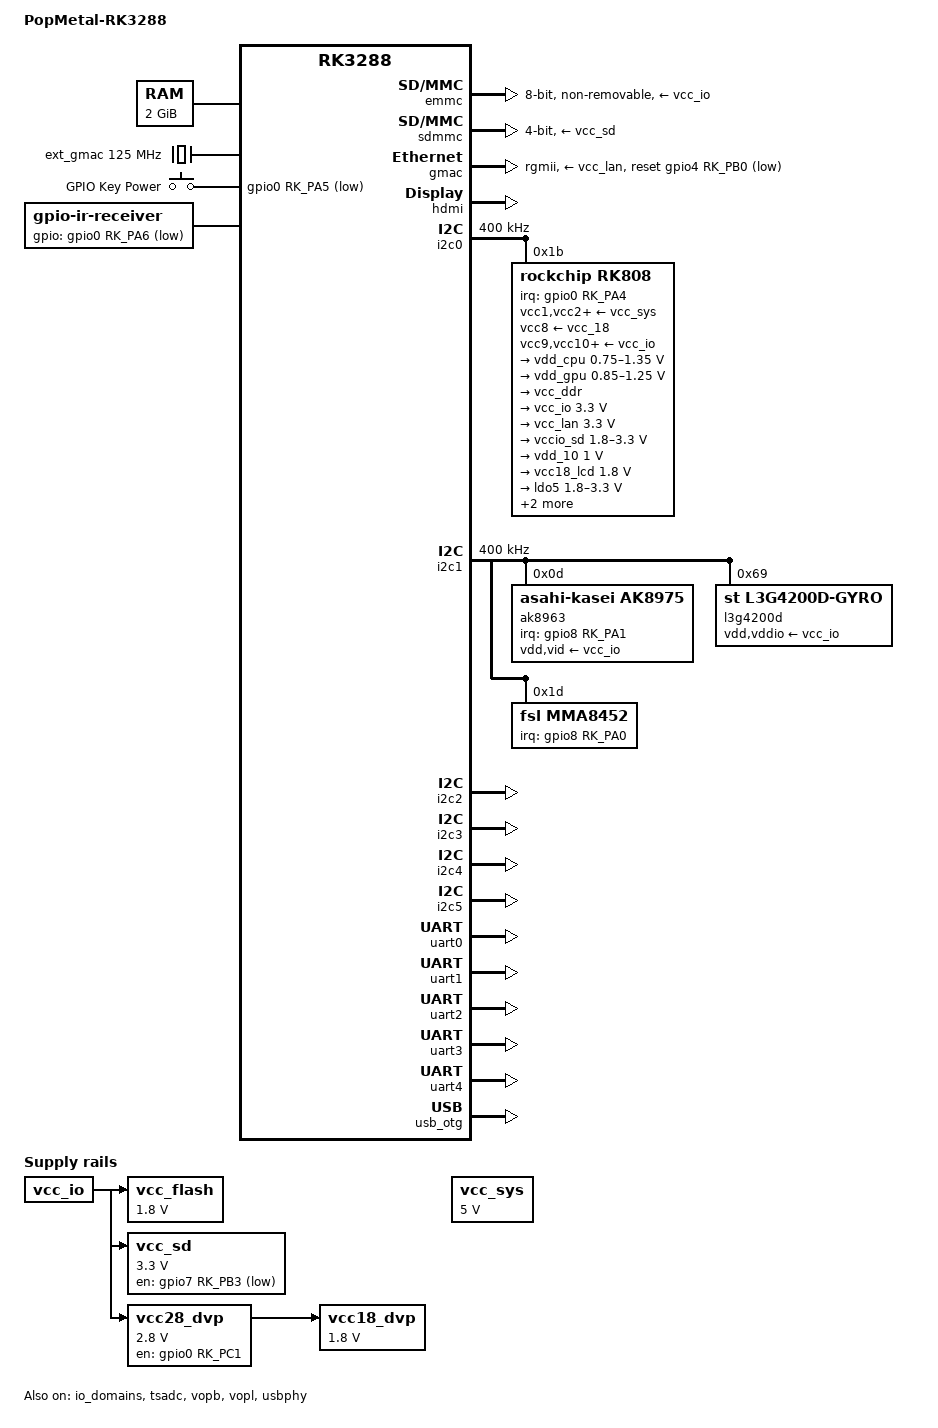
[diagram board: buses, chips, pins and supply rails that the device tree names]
/*
 * Copyright (c) 2014, 2015 Andy Yan <andy.yan@rock-chips.com>
 *
 * This file is dual-licensed: you can use it either under the terms
 * of the GPL or the X11 license, at your option. Note that this dual
 * licensing only applies to this file, and not this project as a
 * whole.
 *
 *  a) This file is free software; you can redistribute it and/or
 *     modify it under the terms of the GNU General Public License as
 *     published by the Free Software Foundation; either version 2 of the
 *     License, or (at your option) any later version.
 *
 *     This file is distributed in the hope that it will be useful,
 *     but WITHOUT ANY WARRANTY; without even the implied warranty of
 *     MERCHANTABILITY or FITNESS FOR A PARTICULAR PURPOSE.  See the
 *     GNU General Public License for more details.
 *
 *  Or, alternatively,
 *
 *  b) Permission is hereby granted, free of charge, to any person
 *     obtaining a copy of this software and associated documentation
 *     files (the "Software"), to deal in the Software without
 *     restriction, including without limitation the rights to use,
 *     copy, modify, merge, publish, distribute, sublicense, and/or
 *     sell copies of the Software, and to permit persons to whom the
 *     Software is furnished to do so, subject to the following
 *     conditions:
 *
 *     The above copyright notice and this permission notice shall be
 *     included in all copies or substantial portions of the Software.
 *
 *     THE SOFTWARE IS PROVIDED "AS IS", WITHOUT WARRANTY OF ANY KIND,
 *     EXPRESS OR IMPLIED, INCLUDING BUT NOT LIMITED TO THE WARRANTIES
 *     OF MERCHANTABILITY, FITNESS FOR A PARTICULAR PURPOSE AND
 *     NONINFRINGEMENT. IN NO EVENT SHALL THE AUTHORS OR COPYRIGHT
 *     HOLDERS BE LIABLE FOR ANY CLAIM, DAMAGES OR OTHER LIABILITY,
 *     WHETHER IN AN ACTION OF CONTRACT, TORT OR OTHERWISE, ARISING
 *     FROM, OUT OF OR IN CONNECTION WITH THE SOFTWARE OR THE USE OR
 *     OTHER DEALINGS IN THE SOFTWARE.
 */

/dts-v1/;
#include <dt-bindings/input/input.h>
#include "rk3288.dtsi"

/ {
	model = "PopMetal-RK3288";
	compatible = "chipspark,popmetal-rk3288", "rockchip,rk3288";

	memory@0 {
		device_type = "memory";
		reg = <0 0x80000000>;
	};

	ext_gmac: external-gmac-clock {
		compatible = "fixed-clock";
		clock-frequency = <125000000>;
		clock-output-names = "ext_gmac";
		#clock-cells = <0>;
	};

	gpio-keys {
		compatible = "gpio-keys";
		autorepeat;

		pinctrl-names = "default";
		pinctrl-0 = <&pwrbtn>;

		power {
			gpios = <&gpio0 RK_PA5 GPIO_ACTIVE_LOW>;
			linux,code = <KEY_POWER>;
			label = "GPIO Key Power";
			linux,input-type = <1>;
			wakeup-source;
			debounce-interval = <100>;
		};
	};

	ir: ir-receiver {
		compatible = "gpio-ir-receiver";
		gpios = <&gpio0 RK_PA6 GPIO_ACTIVE_LOW>;
		pinctrl-names = "default";
		pinctrl-0 = <&ir_int>;
	};

	vcc_flash: flash-regulator {
		compatible = "regulator-fixed";
		regulator-name = "vcc_flash";
		regulator-min-microvolt = <1800000>;
		regulator-max-microvolt = <1800000>;
		vin-supply = <&vcc_io>;
	};

	vcc_sd: sdmmc-regulator {
		compatible = "regulator-fixed";
		gpio = <&gpio7 RK_PB3 GPIO_ACTIVE_LOW>;
		pinctrl-names = "default";
		pinctrl-0 = <&sdmmc_pwr>;
		regulator-name = "vcc_sd";
		regulator-min-microvolt = <3300000>;
		regulator-max-microvolt = <3300000>;
		startup-delay-us = <100000>;
		vin-supply = <&vcc_io>;
	};

	vcc_sys: vsys-regulator {
		compatible = "regulator-fixed";
		regulator-name = "vcc_sys";
		regulator-min-microvolt = <5000000>;
		regulator-max-microvolt = <5000000>;
		regulator-always-on;
		regulator-boot-on;
	};

	/*
	 * A PT5128 creates both dovdd_1v8 and vcc28_dvp, controlled
	 * by the dvp_pwr pin.
	 */
	vcc18_dvp: vcc18-dvp-regulator {
		compatible = "regulator-fixed";
		regulator-name = "vcc18-dvp";
		regulator-min-microvolt = <1800000>;
		regulator-max-microvolt = <1800000>;
		vin-supply = <&vcc28_dvp>;
	};

	vcc28_dvp: vcc28-dvp-regulator {
		compatible = "regulator-fixed";
		enable-active-high;
		gpio = <&gpio0 RK_PC1 GPIO_ACTIVE_HIGH>;
		pinctrl-names = "default";
		pinctrl-0 = <&dvp_pwr>;
		regulator-name = "vcc28_dvp";
		regulator-min-microvolt = <2800000>;
		regulator-max-microvolt = <2800000>;
		regulator-always-on;
		vin-supply = <&vcc_io>;
	};
};

&cpu0 {
	cpu0-supply = <&vdd_cpu>;
};

&emmc {
	bus-width = <8>;
	cap-mmc-highspeed;
	disable-wp;
	mmc-ddr-1_8v;
	mmc-hs200-1_8v;
	non-removable;
	pinctrl-names = "default";
	pinctrl-0 = <&emmc_clk &emmc_cmd &emmc_pwr &emmc_bus8>;
	vmmc-supply = <&vcc_io>;
	vqmmc-supply = <&vcc_flash>;
	status = "okay";
};

&sdmmc {
	bus-width = <4>;
	cap-mmc-highspeed;
	cap-sd-highspeed;
	card-detect-delay = <200>;
	disable-wp;                     /* wp not hooked up */
	pinctrl-names = "default";
	pinctrl-0 = <&sdmmc_clk &sdmmc_cmd &sdmmc_cd &sdmmc_bus4>;
	sd-uhs-sdr12;
	sd-uhs-sdr25;
	sd-uhs-sdr50;
	sd-uhs-sdr104;
	vmmc-supply = <&vcc_sd>;
	vqmmc-supply = <&vccio_sd>;
	status = "okay";
};

&gmac {
	phy-supply = <&vcc_lan>;
	phy-mode = "rgmii";
	clock_in_out = "input";
	snps,reset-gpio = <&gpio4 RK_PB0 GPIO_ACTIVE_HIGH>;
	snps,reset-active-low;
	snps,reset-delays-us = <0 10000 1000000>;
	assigned-clocks = <&cru SCLK_MAC>;
	assigned-clock-parents = <&ext_gmac>;
	pinctrl-names = "default";
	pinctrl-0 = <&rgmii_pins>;
	tx_delay = <0x30>;
	rx_delay = <0x10>;
	status = "ok";
};

&hdmi {
	ddc-i2c-bus = <&i2c5>;
	status = "okay";
};

&i2c0 {
	status = "okay";
	clock-frequency = <400000>;

	rk808: pmic@1b {
		compatible = "rockchip,rk808";
		reg = <0x1b>;
		interrupt-parent = <&gpio0>;
		interrupts = <RK_PA4 IRQ_TYPE_LEVEL_LOW>;
		pinctrl-names = "default";
		pinctrl-0 = <&pmic_int &global_pwroff>;
		rockchip,system-power-controller;
		wakeup-source;
		#clock-cells = <1>;
		clock-output-names = "xin32k", "rk808-clkout2";

		vcc1-supply = <&vcc_sys>;
		vcc2-supply = <&vcc_sys>;
		vcc3-supply = <&vcc_sys>;
		vcc4-supply = <&vcc_sys>;
		vcc6-supply = <&vcc_sys>;
		vcc7-supply = <&vcc_sys>;
		vcc8-supply = <&vcc_18>;
		vcc9-supply = <&vcc_io>;
		vcc10-supply = <&vcc_io>;
		vcc11-supply = <&vcc_sys>;
		vcc12-supply = <&vcc_io>;
		vddio-supply = <&vcc_io>;

		regulators {
			vdd_cpu: DCDC_REG1 {
				regulator-always-on;
				regulator-boot-on;
				regulator-min-microvolt = <750000>;
				regulator-max-microvolt = <1350000>;
				regulator-name = "vdd_arm";
				regulator-state-mem {
					regulator-off-in-suspend;
				};
			};

			vdd_gpu: DCDC_REG2 {
				regulator-always-on;
				regulator-boot-on;
				regulator-min-microvolt = <850000>;
				regulator-max-microvolt = <1250000>;
				regulator-name = "vdd_gpu";
				regulator-state-mem {
					regulator-on-in-suspend;
					regulator-suspend-microvolt = <1000000>;
				};
			};

			vcc_ddr: DCDC_REG3 {
				regulator-always-on;
				regulator-boot-on;
				regulator-name = "vcc_ddr";
				regulator-state-mem {
					regulator-on-in-suspend;
				};
			};

			vcc_io: DCDC_REG4 {
				regulator-always-on;
				regulator-boot-on;
				regulator-min-microvolt = <3300000>;
				regulator-max-microvolt = <3300000>;
				regulator-name = "vcc_io";
				regulator-state-mem {
					regulator-on-in-suspend;
					regulator-suspend-microvolt = <3300000>;
				};
			};

			vcc_lan: LDO_REG1 {
				regulator-always-on;
				regulator-boot-on;
				regulator-min-microvolt = <3300000>;
				regulator-max-microvolt = <3300000>;
				regulator-name = "vcc_lan";
				regulator-state-mem {
					regulator-on-in-suspend;
					regulator-suspend-microvolt = <3300000>;
				};
			};

			vccio_sd: LDO_REG2 {
				regulator-always-on;
				regulator-boot-on;
				regulator-min-microvolt = <1800000>;
				regulator-max-microvolt = <3300000>;
				regulator-name = "vccio_sd";
				regulator-state-mem {
					regulator-off-in-suspend;
				};
			};

			vdd_10: LDO_REG3 {
				regulator-always-on;
				regulator-boot-on;
				regulator-min-microvolt = <1000000>;
				regulator-max-microvolt = <1000000>;
				regulator-name = "vdd_10";
				regulator-state-mem {
					regulator-on-in-suspend;
					regulator-suspend-microvolt = <1000000>;
				};
			};

			vcc18_lcd: LDO_REG4 {
				regulator-always-on;
				regulator-boot-on;
				regulator-min-microvolt = <1800000>;
				regulator-max-microvolt = <1800000>;
				regulator-name = "vcc18_lcd";
				regulator-state-mem {
					regulator-on-in-suspend;
					regulator-suspend-microvolt = <1800000>;
				};
			};

			ldo5: LDO_REG5 {
				regulator-always-on;
				regulator-min-microvolt = <1800000>;
				regulator-max-microvolt = <3300000>;
				regulator-name = "ldo5";
			};

			vdd10_lcd: LDO_REG6 {
				regulator-always-on;
				regulator-boot-on;
				regulator-min-microvolt = <1000000>;
				regulator-max-microvolt = <1000000>;
				regulator-name = "vdd10_lcd";
				regulator-state-mem {
					regulator-on-in-suspend;
					regulator-suspend-microvolt = <1000000>;
				};
			};

			vcc_18: LDO_REG7 {
				regulator-always-on;
				regulator-boot-on;
				regulator-min-microvolt = <1800000>;
				regulator-max-microvolt = <1800000>;
				regulator-name = "vcc_18";
				regulator-state-mem {
					regulator-on-in-suspend;
					regulator-suspend-microvolt = <1800000>;
				};
			};

			vcca_33: LDO_REG8 {
				regulator-always-on;
				regulator-boot-on;
				regulator-min-microvolt = <3300000>;
				regulator-max-microvolt = <3300000>;
				regulator-name = "vcca_33";
				regulator-state-mem {
					regulator-on-in-suspend;
					regulator-suspend-microvolt = <3300000>;
				};
			};

			vccio_wl: SWITCH_REG1 {
				regulator-always-on;
				regulator-boot-on;
				regulator-name = "vccio_wl";
				regulator-state-mem {
					regulator-on-in-suspend;
				};
			};

			vcc_lcd: SWITCH_REG2 {
				regulator-always-on;
				regulator-boot-on;
				regulator-name = "vcc_lcd";
				regulator-state-mem {
					regulator-on-in-suspend;
				};
			};
		};
	};
};

&i2c1 {
	status = "okay";
	clock-frequency = <400000>;

	ak8963: ak8963@0d {
		compatible = "asahi-kasei,ak8975";
		reg = <0x0d>;
		interrupt-parent = <&gpio8>;
		interrupts = <RK_PA1 IRQ_TYPE_EDGE_RISING>;
		pinctrl-names = "default";
		pinctrl-0 = <&comp_int>;
		vdd-supply = <&vcc_io>;
		vid-supply = <&vcc_io>;
	};

	l3g4200d: l3g4200d@69 {
		compatible = "st,l3g4200d-gyro";
		st,drdy-int-pin = <2>;
		reg = <0x69>;
		vdd-supply = <&vcc_io>;
		vddio-supply = <&vcc_io>;
	};

	mma8452: mma8452@1d {
		compatible = "fsl,mma8452";
		reg = <0x1d>;
		interrupt-parent = <&gpio8>;
		interrupts = <RK_PA0 IRQ_TYPE_EDGE_RISING>;
		pinctrl-names = "default";
		pinctrl-0 = <&gsensor_int>;
	};
};

&i2c2 {
	status = "okay";
};

&i2c3 {
	status = "okay";
};

&i2c4 {
	status = "okay";
};

&i2c5 {
	status = "okay";
};

&io_domains {
	status = "okay";

	audio-supply = <&vcca_33>;
	bb-supply = <&vcc_io>;
	dvp-supply = <&vcc18_dvp>;
	flash0-supply = <&vcc_flash>;
	flash1-supply = <&vcc_lan>;
	gpio30-supply = <&vcc_io>;
	gpio1830-supply = <&vcc_io>;
	lcdc-supply = <&vcc_io>;
	sdcard-supply = <&vccio_sd>;
	wifi-supply = <&vccio_wl>;
};

&pinctrl {
	ak8963 {
		comp_int: comp-int {
			rockchip,pins = <8 RK_PA1 RK_FUNC_GPIO &pcfg_pull_up>;
		};
	};

	buttons {
		pwrbtn: pwrbtn {
			rockchip,pins = <0 RK_PA5 RK_FUNC_GPIO &pcfg_pull_up>;
		};
	};

	dvp {
		dvp_pwr: dvp-pwr {
			rockchip,pins = <0 RK_PC1 RK_FUNC_GPIO &pcfg_pull_none>;
		};
	};

	ir {
		ir_int: ir-int {
			rockchip,pins = <0 RK_PA6 RK_FUNC_GPIO &pcfg_pull_up>;
		};
	};

	mma8452 {
		gsensor_int: gsensor-int {
			rockchip,pins = <8 RK_PA0 RK_FUNC_GPIO &pcfg_pull_up>;
		};
	};

	pmic {
		pmic_int: pmic-int {
			rockchip,pins = <0 RK_PA4 RK_FUNC_GPIO &pcfg_pull_up>;
		};
	};

	sdmmc {
		sdmmc_pwr: sdmmc-pwr {
			rockchip,pins = <7 RK_PB3 RK_FUNC_GPIO &pcfg_pull_none>;
		};
	};
};

&tsadc {
	rockchip,hw-tshut-mode = <0>;
	rockchip,hw-tshut-polarity = <0>;
	status = "okay";
};

&vopb {
	status = "okay";
};

&vopb_mmu {
	status = "okay";
};

&vopl {
	status = "okay";
};

&vopl_mmu {
	status = "okay";
};

&uart0 {
	status = "okay";
};

&uart1 {
	status = "okay";
};

&uart2 {
	status = "okay";
};

&uart3 {
	status = "okay";
};

&uart4 {
	status = "okay";
};

&usbphy {
	status = "okay";
};

&usb_otg {
	status = "okay";
};
